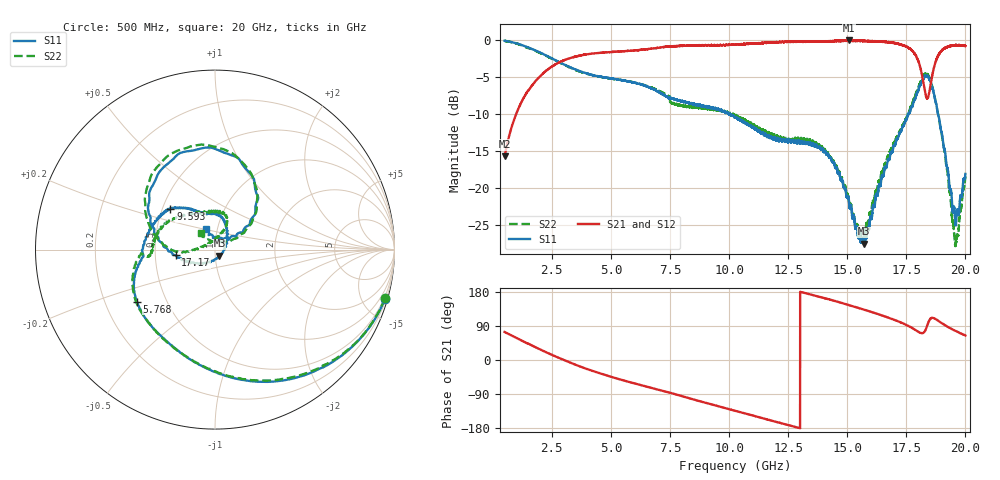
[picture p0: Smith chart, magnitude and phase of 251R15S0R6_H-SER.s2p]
!{251R15S0R6}
!Johanson Technology Inc.
!www.johansontechnology.com
!Test Board Conditions:
!Substrate Type  RO4350B
!Substrate Thickness  20 mil
!Substrate Dk  3.66
!TL Type: GCPW
!TL Trace Width  34 mil
!TL Gap  10 mil
!Electrode orientation  Horizontal
!DUT TOPOLOGY	SERIES
!Mounting Pad LxW  26x52 mil
! Created Thu Mar 12 16:28:57 2020
# mhz S ma R 50
! 2 Port Network Data from SP1.SP block
! freq  magS11  angS11  magS21  angS21  magS12  angS12  magS22  angS22
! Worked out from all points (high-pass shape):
!   19501 points, 500 MHz to 20 GHz, reference 50 ohm
!   highest |S21| = -0.08 dB at 15.07 GHz (marker M1); lowest = -15.7 dB at 500 MHz (marker M2)
!   |S21| within 3 dB of the highest: 2.786 GHz to 18.04 GHz (15.25 GHz wide, 146 % of centre); 18.73 GHz to end of sweep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
!   lowest |S11| = -27.5 dB at 15.7 GHz (marker M3), VSWR 1.09, Z = 52.4 - j3.55 ohm
!   |S11| at or under -10 dB: 9.974215 GHz to 10.01685 GHz (42.64 MHz wide, 0.427 % of centre); 10.03 GHz to 17.59 GHz (7.555 GHz wide, 54.7 % of centre); 18.84 GHz to end of sweep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
!   |S22| runs from -27.9 to -0.1 dB; largest |S21 - S12| = 0.015
!   S11 on the Smith chart (normalised r, x): 500 MHz: 0.35, -7.03; 5.768 GHz: 0.34, -0.27; 9.593 GHz: 0.55, +0.28; 17.17 GHz: 0.64, -0.04; 20 GHz: 0.88, +0.20
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500  0.9864 -16.2  0.1633 73.9  0.1638 74.1  0.9852 -16.0
1113  0.9358 -35.6  0.3515 54.7  0.3515 54.6  0.9328 -35.4
1918  0.8329 -60.3  0.5507 30.3  0.5519 30.4  0.8278 -59.6
2843  0.7039 -85.6  0.7079 4.5  0.7084 4.3  0.701 -85.1
3750  0.609 -107.4  0.7877 -18.5  0.787 -18.4  0.6065 -108.3
5768  0.5227 -146.3  0.8434 -57.9  0.843 -58.0  0.5244 -147.6
7000  0.4488 -166.5  0.8847 -78.4  0.8862 -78.3  0.4558 -168.9
9593  0.335 137.8  0.9197 -122.7  0.9231 -123.0  0.3301 164.0
10250  0.3 129.1  0.9318 -134.0  0.9318 -134.1  0.3074 150.7
11939  0.2174 109.6  0.9601 -162.4  0.9612 -162.5  0.226 112.7
13500  0.1927 86.4  0.9727 171.9  0.97 172.0  0.203 74.6
14357  0.151 67.3  0.9819 157.9  0.9805 157.7  0.1531 64.8
15068  0.08126 35.2  0.9912 144.9  0.9842 145.0  0.08286 75.1
15697  0.04205 -53.5  0.9859 133.3  0.9864 132.9  0.05083 136.8
16750  0.1553 -151.6  0.9667 111.6  0.9602 111.1  0.166 -174.8
17172  0.222 -172.0  0.939 101.4  0.9339 101.3  0.2337 -179.2
18030  0.4694 141.3  0.7051 73.6  0.6937 73.5  0.4898 142.7
18384  0.5713 96.6  0.4044 90.9  0.4006 91.3  0.5904 97.9
18753  0.3766 50.3  0.7206 107.6  0.7226 107.3  0.375 51.1
19107  0.1837 32.2  0.8729 92.9  0.8756 92.6  0.18 29.9
19572  0.0602 74.5  0.9203 77.3  0.915 77.1  0.04038 72.4
20000  0.1243 113.9  0.9089 64.5  0.906 64.4  0.1197 131.1
